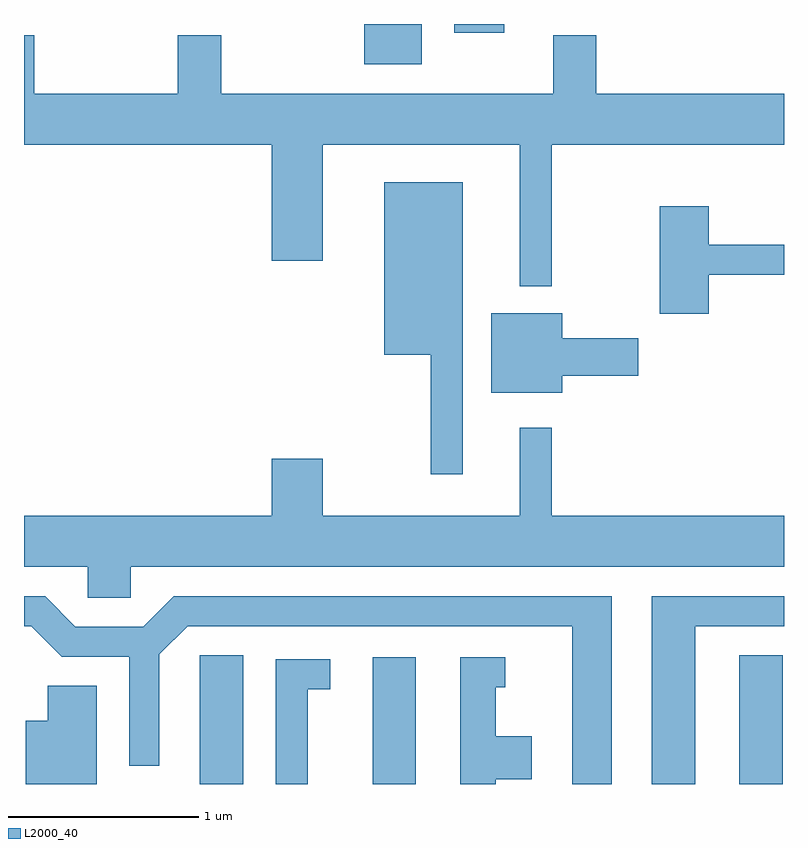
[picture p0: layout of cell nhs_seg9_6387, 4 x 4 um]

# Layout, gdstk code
import gdstk
lib = gdstk.Library(unit=1e-6, precision=1e-09)
def R(c, l, rs):  # rectangles x0, y0, x1, y1
    for r in rs: c.add(gdstk.rectangle(r[:2], r[2:], *l))
def P(c, l, *ps):  # polygons
    for p in ps: c.add(gdstk.Polygon(p, *l))
L2000_40 = (2000, 40)

nhs_seg9_6387 = lib.new_cell('nhs_seg9_6387')
R(nhs_seg9_6387, L2000_40, [(374.536,2008.432,374.764,2009.109), (375.446,2008.432,375.674,2009.099), (377.376,2008.432,377.604,2009.109), (375.401,2012.221,375.704,2012.432), (375.876,2012.386,376.139,2012.432)])
P(nhs_seg9_6387, L2000_40, [(376.389,2011.796),(377.611,2011.796),(377.611,2012.064),(376.624,2012.064),(376.624,2012.374),(376.396,2012.374),(376.396,2012.064),(374.649,2012.064),(374.649,2012.374),(374.421,2012.374),(374.421,2012.064),(373.664,2012.064),(373.664,2012.374),(373.611,2012.374),(373.611,2011.796),(374.916,2011.796),(374.916,2011.186),(375.184,2011.186),(375.184,2011.796),(376.221,2011.796),(376.221,2011.053),(376.389,2011.053)],
  [(375.919,2011.599),(375.506,2011.599),(375.506,2010.691),(375.751,2010.691),(375.751,2010.063),(375.919,2010.063)],
  [(377.214,2011.111),(377.611,2011.111),(377.611,2011.269),(377.214,2011.269),(377.214,2011.474),(376.956,2011.474),(376.956,2010.906),(377.214,2010.906)],
  [(376.444,2010.581),(376.844,2010.581),(376.844,2010.779),(376.444,2010.779),(376.444,2010.909),(376.071,2010.909),(376.071,2010.491),(376.444,2010.491)],
  [(374.174,2009.576),(377.611,2009.576),(377.611,2009.844),(376.389,2009.844),(376.389,2010.308),(376.221,2010.308),(376.221,2009.844),(375.184,2009.844),(375.184,2010.144),(374.916,2010.144),(374.916,2009.844),(373.611,2009.844),(373.611,2009.576),(373.946,2009.576),(373.946,2009.411),(374.174,2009.411)],
  [(376.704,2009.419),(374.399,2009.419),(374.239,2009.259),(373.882,2009.259),(373.722,2009.419),(373.611,2009.419),(373.611,2009.261),(373.649,2009.261),(373.809,2009.101),(374.166,2009.101),(374.166,2008.528),(374.324,2008.528),(374.324,2009.114),(374.472,2009.261),(376.496,2009.261),(376.496,2008.432),(376.704,2008.432)],
  [(377.144,2009.261),(377.611,2009.261),(377.611,2009.419),(376.916,2009.419),(376.916,2008.432),(377.144,2008.432)],
  [(376.094,2008.456),(376.284,2008.456),(376.284,2008.684),(376.094,2008.684),(376.094,2008.941),(376.143,2008.941),(376.143,2009.099),(375.906,2009.099),(375.906,2008.432),(376.094,2008.432)],
  [(375.104,2008.931),(375.223,2008.931),(375.223,2009.089),(374.936,2009.089),(374.936,2008.432),(375.104,2008.432)],
  [(373.994,2008.949),(373.736,2008.949),(373.736,2008.764),(373.621,2008.764),(373.621,2008.432),(373.994,2008.432)])

lib.write_gds('nhs_seg9_6387.gds')
